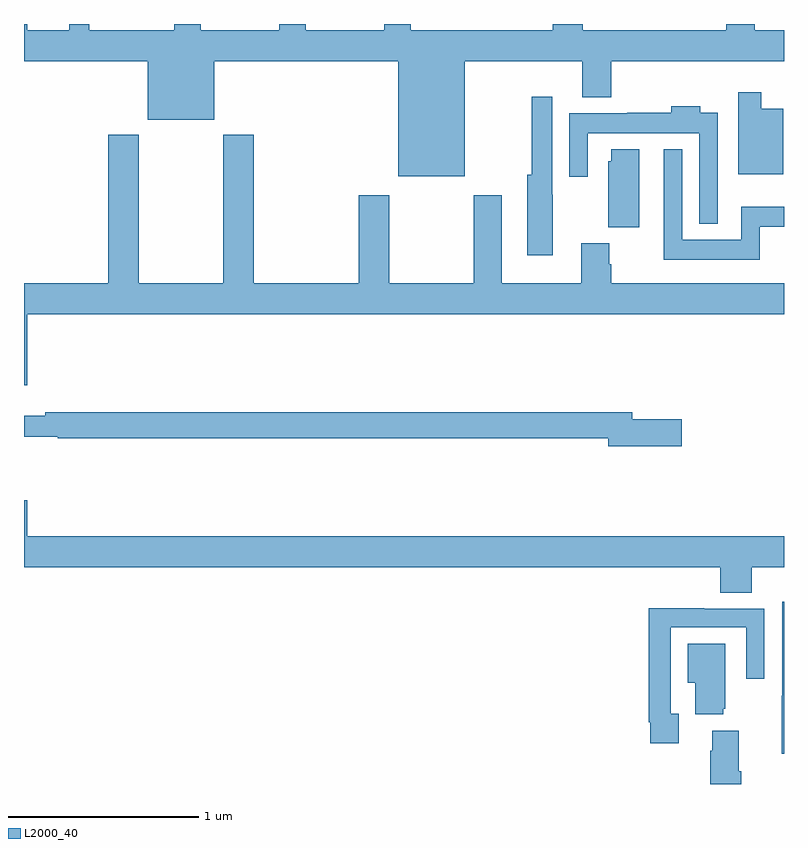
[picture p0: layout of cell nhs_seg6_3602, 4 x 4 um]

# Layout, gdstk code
import gdstk
lib = gdstk.Library(unit=1e-6, precision=1e-09)
def P(c, l, *ps):  # polygons
    for p in ps: c.add(gdstk.Polygon(p, *l))
L2000_40 = (2000, 40)

nhs_seg6_3602 = lib.new_cell('nhs_seg6_3602')
P(nhs_seg6_3602, L2000_40, [(323.32,979.304),(323.939,979.304),(323.939,979.115),(324.092,979.115),(324.092,979.304),(325,979.304),(325,979.468),(324.847,979.468),(324.847,979.5),(324.695,979.5),(324.695,979.468),(323.942,979.468),(323.942,979.5),(323.782,979.5),(323.782,979.468),(323.035,979.468),(323.035,979.5),(322.895,979.5),(322.895,979.468),(322.483,979.468),(322.483,979.5),(322.343,979.5),(322.343,979.468),(321.931,979.468),(321.931,979.5),(321.792,979.5),(321.792,979.468),(321.343,979.468),(321.343,979.5),(321.239,979.5),(321.239,979.468),(321.016,979.468),(321.016,979.5),(321,979.5),(321,979.304),(321.65,979.304),(321.65,978.995),(322,978.995),(322,979.304),(322.97,979.304),(322.97,978.698),(323.32,978.698)],
  [(324.997,979.054),(324.88,979.054),(324.88,979.141),(324.758,979.141),(324.758,978.71),(324.997,978.71)],
  [(323.782,978.602),(323.781,978.602),(323.781,979.117),(323.673,979.117),(323.673,978.706),(323.648,978.706),(323.648,978.282),(323.782,978.282)],
  [(324.651,979.033),(324.559,979.033),(324.559,979.066),(324.407,979.066),(324.407,979.033),(324.175,979.033),(324.175,979.03),(323.871,979.03),(323.871,978.696),(323.967,978.696),(323.967,978.926),(324.555,978.926),(324.555,978.449),(324.651,978.449)],
  [(321.016,977.972),(325,977.972),(325,978.136),(324.092,978.136),(324.092,978.236),(324.079,978.236),(324.079,978.345),(323.932,978.345),(323.932,978.136),(323.515,978.136),(323.515,978.598),(323.368,978.598),(323.368,978.136),(322.923,978.136),(322.923,978.598),(322.763,978.598),(322.763,978.136),(322.208,978.136),(322.208,978.916),(322.048,978.916),(322.048,978.136),(321.603,978.136),(321.603,978.916),(321.443,978.916),(321.443,978.136),(321,978.136),(321,977.598),(321.016,977.598)],
  [(324.872,978.434),(325,978.434),(325,978.538),(324.774,978.538),(324.774,978.364),(324.465,978.364),(324.465,978.841),(324.368,978.841),(324.368,978.26),(324.872,978.26)],
  [(324.238,978.841),(324.092,978.841),(324.092,978.777),(324.074,978.777),(324.074,978.43),(324.238,978.43)],
  [(324.463,977.42),(324.202,977.42),(324.202,977.456),(321.112,977.456),(321.112,977.437),(321,977.437),(321,977.328),(321.178,977.328),(321.178,977.32),(324.074,977.32),(324.074,977.278),(324.463,977.278)],
  [(324.83,976.64),(325,976.64),(325,976.804),(321.016,976.804),(321.016,976.993),(321,976.993),(321,976.64),(324.665,976.64),(324.665,976.507),(324.83,976.507)],
  [(325,976.459),(324.99,976.459),(324.99,975.965),(324.988,975.965),(324.988,975.659),(325,975.659)],
  [(324.445,975.87),(324.405,975.87),(324.405,976.326),(324.801,976.326),(324.801,976.053),(324.897,976.053),(324.897,976.422),(324.581,976.422),(324.581,976.424),(324.289,976.424),(324.289,975.826),(324.297,975.826),(324.297,975.714),(324.445,975.714)],
  [(324.68,975.897),(324.691,975.897),(324.691,976.237),(324.494,976.237),(324.494,976.034),(324.533,976.034),(324.533,975.866),(324.68,975.866)],
  [(324.776,975.568),(324.763,975.568),(324.763,975.781),(324.623,975.781),(324.623,975.674),(324.611,975.674),(324.611,975.5),(324.776,975.5)])

lib.write_gds('nhs_seg6_3602.gds')
